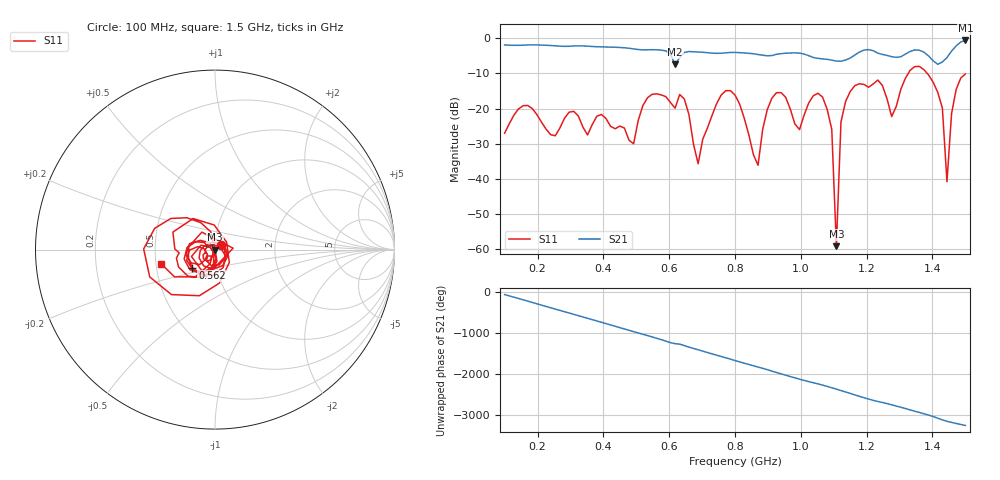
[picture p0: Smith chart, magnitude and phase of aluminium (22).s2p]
! NanoVNA-App
! Date: 2025-09-25 14:55:26
! Start: 100MHz Stop: 1,5GHz Points: 101
! S-Parameter data: F S11 S21 S12 S22
# Hz S RI R 50
!  Frequency  S11_Real  S11_Imag  S21_Real  S21_Imag  S12_Real  S12_Imag  S22_Real  S22_Imag
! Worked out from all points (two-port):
!   101 points, 100 MHz to 1.5 GHz, reference 50 ohm
!   highest |S21| = -0.65 dB at 1.5 GHz (marker M1); lowest = -7.4 dB at 618 MHz (marker M2)
!   |S21| within 3 dB of the highest: start of sweep to 590.5 MHz; 1.185 GHz to 1.222 GHz (36.34 MHz wide, 3.02 % of centre) (the widest 2 of 4)
!   lowest |S11| = -59.1 dB at 1.108 GHz (marker M3), VSWR 1.00, Z = 50 - j0.11 ohm
!   |S11| at or under -10 dB: start of sweep to 1.327 GHz; 1.384 GHz to end of sweep
!   S12 and S22 are empty: the file has one direction only
!   S11 on the Smith chart (normalised r, x): 100 MHz: 1.07, +0.06; 562 MHz: 0.76, -0.16; 1.5 GHz: 0.53, -0.09
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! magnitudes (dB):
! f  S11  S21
! 100 MHz  -27.0  -1.9
! 338 MHz  -25.3  -2.2
! 492 MHz  -30.0  -3.0
! 562 MHz  -15.8  -3.3
! 576 MHz  -16.1  -3.4
! 618 MHz  -19.9  -7.4
! 688 MHz  -35.7  -3.9
! 800 MHz  -16.1  -4.0
! 870 MHz  -36.1  -4.6
! 912 MHz  -17.1  -4.9
! 996 MHz  -26.0  -4.2
! 1.038 GHz  -16.4  -5.5
! 1.094 GHz  -25.9  -6.2
! 1.108 GHz  -59.1  -6.5
! 1.122 GHz  -23.8  -6.6
! 1.136 GHz  -18.0  -6.2
! 1.276 GHz  -22.3  -5.3
! 1.388 GHz  -10.4  -5.0
! 1.43 GHz  -19.8  -6.8
! 1.444 GHz  -40.8  -5.5
! 1.458 GHz  -21.4  -3.7
! 1.5 GHz  -10.2  -0.6
